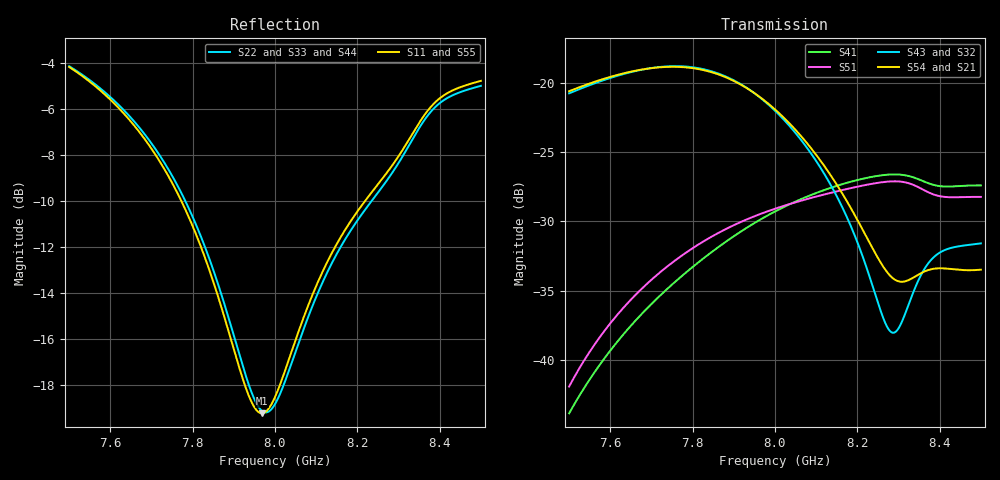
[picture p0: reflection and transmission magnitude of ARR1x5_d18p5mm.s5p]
! Touchstone file exported from HFSS 2025.1.0
!  File:  C:/Users/user/Documents/Ansoft/TFG_UWB-MIMO-Array.aedt
!  Generated:  02:04:22 PM Nov 20, 2026
!  Design:  ARR1x5_US3_PS6_dparam
!  Project:  TFG_UWB-MIMO-Array
!  Setup:  Setup_ch9
!  Solution:  Sweep_7p5_8p5
! Variables:
!  arr_d = 18.5mm
!  board_m = 13mm
!  board_x = 100mm
!  board_y = 26mm
!  cu_t = 0.035mm
!  line_w = 3.92mm
!  pad_xy = 22mm
!  pad_zn = 25mm
!  pad_zp = 33mm
!  par_L = 7.05mm
!  par_W = 11mm
!  par_yc = 0.615mm
!  par_z = 1.035mm
!  patch_L = 6.29mm
!  patch_W = 11.421266mm
!  sub_h = 2.07mm
!  tr_l = 6.6mm
!  tr_w = 0.8mm
!  u_Lu = 2.65mm
!  u_Wu = 4.4mm
!  u_t = 0.8mm
!  u_y0 = -0.7mm
# GHz S MA R 50.000000
! Terminal data exported
! Port[1] = P1
! Port[2] = P2
! Port[3] = P3
! Port[4] = P4
! Port[5] = P5
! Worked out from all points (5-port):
!   1001 points, 7.5 GHz to 8.5 GHz, reference 50 ohm
!   strongest paths, dB at 7.5 GHz, 7.75 GHz, 8 GHz, 8.25 GHz, 8.5 GHz:
!     S54: -20.6, -18.9, -21.9, -32.6, -33.5
!     S21: -20.6, -18.8, -21.9, -32.6, -33.4
!     S43: -20.8, -18.8, -22.0, -35.9, -31.6
!     S32: -20.8, -18.8, -22.0, -36.0, -31.6
!     S51: -41.9, -33.0, -29.1, -27.2, -28.2
!     S41: -43.9, -34.6, -29.3, -26.7, -27.4
!   lowest |S11| = -19.3 dB at 7.968 GHz (marker M1), VSWR 1.24, Z = 61.7 - j3.47 ohm
!   |S11| at or under -10 dB: 7.772 GHz to 8.219 GHz (446.6 MHz wide, 5.59 % of centre)
